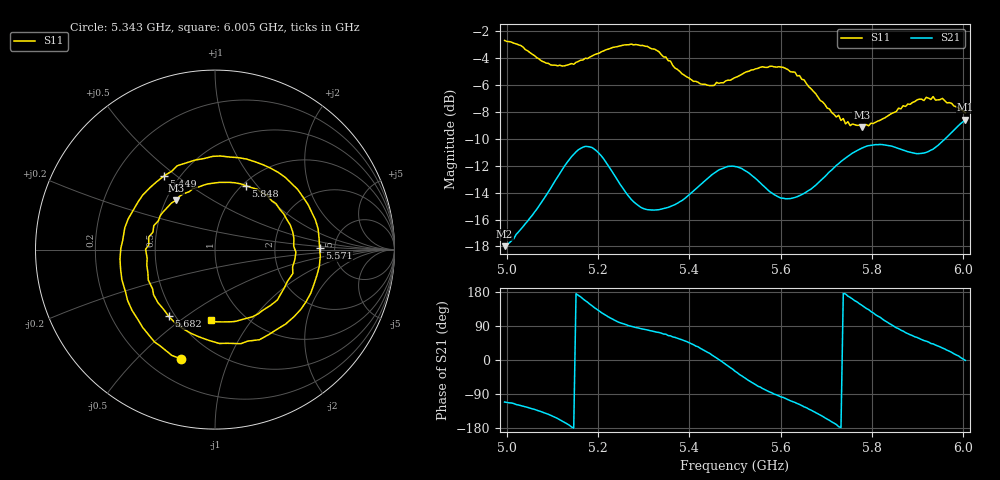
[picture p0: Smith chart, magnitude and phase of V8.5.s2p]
!File created by NanoVNA
# Hz S RI R 50
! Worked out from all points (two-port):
!   201 points, 4.995 GHz to 6.005 GHz, reference 50 ohm
!   highest |S21| = -8.59 dB at 6.005 GHz (marker M1); lowest = -18.0 dB at 4.995 GHz (marker M2)
!   |S21| within 3 dB of the highest: 5.136 GHz to 5.214 GHz (78.3 MHz wide, 1.51 % of centre); 5.736 GHz to end of sweep
!   lowest |S11| = -9.1 dB at 5.778 GHz (marker M3), VSWR 2.08, Z = 28.2 + j17.6 ohm
!   |S11| at or under -10 dB: nowhere
!   S12 and S22 are empty: the file has one direction only
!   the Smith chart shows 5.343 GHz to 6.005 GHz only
!   S11 on the Smith chart (normalised r, x): 5.343 GHz: 0.33, -0.68; 5.449 GHz: 0.41, +0.45; 5.571 GHz: 3.79, +0.12; 5.682 GHz: 0.46, -0.43; 5.848 GHz: 1.04, +0.88; 6.005 GHz: 0.71, -0.66
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4.995e9  0.2046 -0.7049  -0.0449 -0.1179  0 0  0 0
5.03035e9  -0.2888 -0.6409  -0.0736 -0.1258  0 0  0 0
5.0758e9  -0.6075 -0.1015  -0.1332 -0.1261  0 0  0 0
5.1162e9  -0.4618 0.373  -0.218 -0.0889  0 0  0 0
5.1667e9  0.0762 0.6167  -0.2789 0.0938  0 0  0 0
5.25255e9  0.6986 -0.079  -0.0239 0.2078  0 0  0 0
5.298e9  0.4183 -0.5653  0.025 0.1726  0 0  0 0
5.33335e9  -0.0416 -0.6651  0.0515 0.1645  0 0  0 0
5.34345e9  -0.1904 -0.6082  0.0637 0.162  0 0  0 0
5.39395e9  -0.5257 -0.1127  0.1266 0.1446  0 0  0 0
5.4495e9  -0.2861 0.4087  0.2266 0.0526  0 0  0 0
5.5e9  0.1757 0.5044  0.2167 -0.1235  0 0  0 0
5.5707e9  0.5824 0.0104  0.0302 -0.2028  0 0  0 0
5.6313e9  0.2477 -0.5021  -0.0716 -0.1775  0 0  0 0
5.6717e9  -0.1813 -0.4393  -0.1489 -0.1467  0 0  0 0
5.6818e9  -0.2573 -0.3721  -0.1696 -0.1345  0 0  0 0
5.72725e9  -0.3867 0.0018  -0.2551 -0.0178  0 0  0 0
5.77775e9  -0.2176 0.2739  -0.2384 0.1684  0 0  0 0
5.83835e9  0.1081 0.3727  -0.032 0.2962  0 0  0 0
5.84845e9  0.1724 0.3565  0.00523 0.295  0 0  0 0
5.9343e9  0.4338 -0.1332  0.2137 0.1954  0 0  0 0
6.005e9  -0.0204 -0.3942  0.372 -0.00674  0 0  0 0
